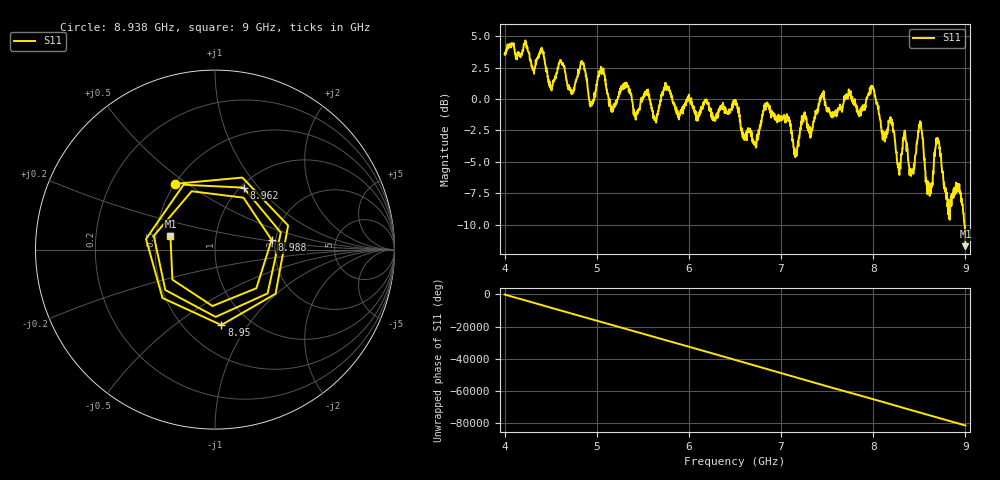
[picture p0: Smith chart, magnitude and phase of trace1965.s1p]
! Created with skrf 1.8.0 (http://scikit-rf.org).
# Hz S RI R 50.0
!freq ReS11 ImS11
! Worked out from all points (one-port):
!   1601 points, 4 GHz to 9 GHz, reference 50 ohm
!   lowest |S11| = -11.7 dB at 9 GHz (marker M1), VSWR 1.70, Z = 29.8 + j4.81 ohm
!   |S11| at or under -10 dB: 8.990432 GHz to end of sweep
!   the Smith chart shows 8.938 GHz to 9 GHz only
!   S11 on the Smith chart (normalised r, x): 8.938 GHz: 0.50, +0.45; 8.95 GHz: 0.74, -0.76; 8.962 GHz: 1.04, +0.84; 8.988 GHz: 1.90, +0.23; 9 GHz: 0.60, +0.10
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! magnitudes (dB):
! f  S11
! 4 GHz  3.6
! 4.5 GHz  1.1
! 4.625 GHz  2.7
! 4.731 GHz  0.7
! 4.847 GHz  2.9
! 4.941 GHz  -0.3
! 5.047 GHz  2.6
! 5.156 GHz  -0.8
! 5.25 GHz  0.4
! 5.875 GHz  -0.9
! 6.5 GHz  -0.1
! 6.709 GHz  -3.4
! 6.844 GHz  -0.4
! 7.125 GHz  -3.2
! 7.75 GHz  0.5
! 7.988 GHz  1.0
! 8.272 GHz  -5.5
! 8.375 GHz  -4.5
! 8.425 GHz  -5.7
! 8.512 GHz  -2.1
! 8.603 GHz  -6.9
! 8.697 GHz  -3.3
! 8.812 GHz  -9.2
! 8.938 GHz  -7.4
! 8.95 GHz  -7.5
! 8.962 GHz  -8.4
! 8.988 GHz  -9.9
! 9 GHz  -11.7
